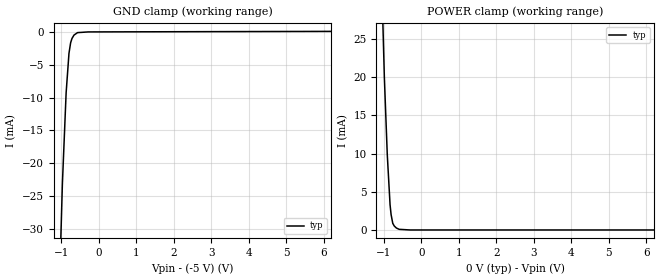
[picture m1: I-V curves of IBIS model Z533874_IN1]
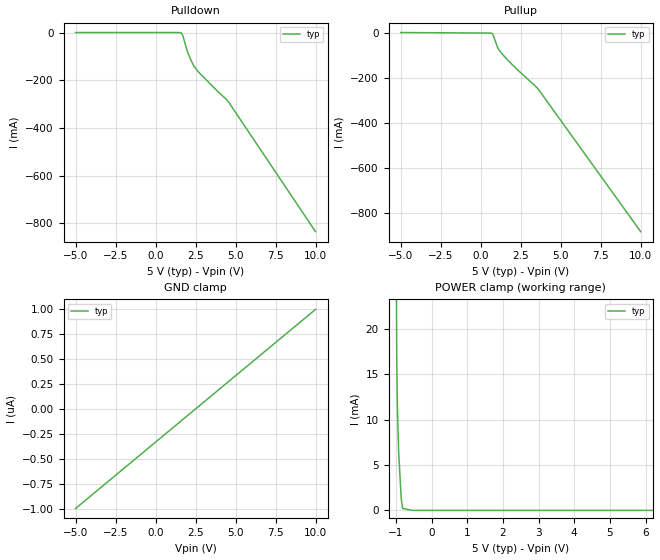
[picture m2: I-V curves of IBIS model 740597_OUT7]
| YOU ARE ONLY AUTHORIZED TO USE THIS SOFTWARE
| ACCORDING TO LICENSOR'S LICENSE RESTRICTIONS.
[IBIS Ver] 3.1
[File Name] mc100el90dw.ibs
[File Rev] 1
[Source] Derived from mc100el52d.ibs and
|   mc10el01d_pecl.ibs measured and created by ICX Technology
[Date] 10/01/2003
[Copyright]
| (C) COPYRIGHT 1993-2000
| MENTOR GRAPHICS CORPORATION
| ICX STANDARD LIBRARY, ICX PROJECT MODELING,
| ICX CUSTOM MODELING, ICX VENDOR MODEL
| ALL RIGHTS RESERVED.
| THE FOLLOWING ARE TRADEMARKS OR SERVICE MARKS OF
| MENTOR GRAPHICS CORPORATION:ICX (R), ICX STANDARD
| LIBRARY(R), ICX PROJECT MODELING(R), ICX CUSTOM
| MODELING(R), qualityIBIS(TM), MODELVIEWER(TM),
| AND MODELEDITOR(TM)
| ALL COPIES OF SOFTWARE, INCLUDING BUT NOT LIMITED TO
| ANY MODIFICATIONS, ENHANCEMENTS OR DERIVATIVE WORKS,
| MUST CONTAIN ALL MENTOR GRAPHICS CORPORATION'S
| NOTICES AND LEGENDS, INCLUDING THOSE EMBEDDED IN
| SOFTWARE AND THOSE AFFIXED TO SOFTWARE MEDIUM
| AND CONTAINER, AS RECEIVED FROM MENTOR GRAPHICS
| CORPORATION.
|  ZAP Model Builder 2.7
[Component] MC100EL90DW
[Manufacturer] On Semiconductor
[Package]
| variable   typ   min   max
R_pkg  .158ohms NA NA
L_pkg  3.37nH NA NA
C_pkg  .4pF NA NA
[Pin] signal_name  model_name  R_pin  L_pin C_pin
1 VCC POWER .158 3.36n .4p
2 D0 Z533874_IN1 .154 2.93n .38p
3 _D0 Z533874_IN1 .154 2.93n .38p
4 VBB POWER .158 3.36n .4p
5 D1 Z533874_IN1 .154 2.93n .38p
6 _D1 Z533874_IN1 .154 2.93n .38p
7 VBB POWER .15 2.51n .36p
8 D2 Z533874_IN1 .154 2.93n .38p
9 _D2 Z533874_IN1 .154 2.93n .38p
10 VEE GND .166 4.25n .44p
11 VCC POWER .15 2.51n .36p
12 _Q2 740597_OUT7 .166 4.25n .44p
13 Q2 740597_OUT7 .166 4.25n .44p
14 VEE GND .166 4.25n .44p
15 _Q1 740597_OUT7 .166 4.25n .44p
16 Q1 740597_OUT7 .166 4.25n .44p
17 VEE GND .166 4.25n .44p
18 _Q0 740597_OUT7 .166 4.25n .44p
19 Q0 740597_OUT7 .166 4.25n .44p
20 VCC POWER .158 3.36n .4p
[Diff Pin] inv_pin vdiff tdelay_typ tdelay_min tdelay_max
2 3 200mV NA NA NA
5 6 200mV NA NA NA
8 9 200mV NA NA NA
13 12 NA 0.005ns NA 0.02ns
16 15 NA 0.005ns NA 0.02ns
19 18 NA 0.005ns NA 0.02ns
| Models and submodels in the file (2): Z533874_IN1 (Input_ECL), 740597_OUT7 (Output_ECL)
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| (C) COPYRIGHT 1993-2000
| MENTOR GRAPHICS CORPORATION
| ICX STANDARD LIBRARY, ICX PROJECT MODELING,
| ICX CUSTOM MODELING, ICX VENDOR MODEL
| ALL RIGHTS RESERVED.
| THE FOLLOWING ARE TRADEMARKS OR SERVICE MARKS OF
| MENTOR GRAPHICS CORPORATION:ICX (R), ICX STANDARD
| LIBRARY(R), ICX PROJECT MODELING(R), ICX CUSTOM
| MODELING(R), qualityIBIS(TM), MODELVIEWER(TM),
| AND MODELEDITOR(TM)
| ALL COPIES OF SOFTWARE, INCLUDING BUT NOT LIMITED TO
| ANY MODIFICATIONS, ENHANCEMENTS OR DERIVATIVE WORKS,
| MUST CONTAIN ALL MENTOR GRAPHICS CORPORATION'S
| NOTICES AND LEGENDS, INCLUDING THOSE EMBEDDED IN
| SOFTWARE AND THOSE AFFIXED TO SOFTWARE MEDIUM
| AND CONTAINER, AS RECEIVED FROM MENTOR GRAPHICS
| CORPORATION.
| Model Application Version 1.89 2/18/99.
[Model] Z533874_IN1
Model_type Input_ECL
Vinl = -1.475V
Vinh = -1.165V
C_comp 2.000pF NA NA
| variable typ   min   max
[Voltage Range] -5.000V NA NA
[GND Clamp Reference] -5.000V NA NA
[POWER Clamp Reference] 0.000V NA NA
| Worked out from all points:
|   GND clamp passes 1 mA (typ) near -0.71 V on its own axis
|   POWER clamp passes 1 mA (typ) near -0.77 V on its own axis
[GND Clamp]
-5V       -828.9mA   NA         NA
-972mV    -23.19mA   NA         NA
-872mV    -9.305mA   NA         NA
-796mV    -3.28mA    NA         NA
-752mV    -1.674mA   NA         NA
-715mV    -1.012mA   NA         NA
-662mV    -504.3uA   NA         NA
-568mV    -130.2uA   NA         NA
-284mV    -21.47uA   NA         NA
10V       109.5uA    NA         NA
[POWER Clamp]
-5V       1.736A     NA         NA
-1.064V   34.04mA    NA         NA
-986.1mV  20.01mA    NA         NA
-908.2mV  9.892mA    NA         NA
-833.3mV  3.284mA    NA         NA
-806.1mV  2.016mA    NA         NA
-761.7mV  872.4uA    NA         NA
-721.1mV  515.3uA    NA         NA
-664.1mV  251.6uA    NA         NA
-589.6mV  83.04uA    NA         NA
-294.8mV  0A         NA         NA
10V       0A         NA         NA
| (C) COPYRIGHT 1993-2000
| MENTOR GRAPHICS CORPORATION
| ICX STANDARD LIBRARY, ICX PROJECT MODELING,
| ICX CUSTOM MODELING, ICX VENDOR MODEL
| ALL RIGHTS RESERVED.
| THE FOLLOWING ARE TRADEMARKS OR SERVICE MARKS OF
| MENTOR GRAPHICS CORPORATION:ICX (R), ICX STANDARD
| LIBRARY(R), ICX PROJECT MODELING(R), ICX CUSTOM
| MODELING(R), qualityIBIS(TM), MODELVIEWER(TM),
| AND MODELEDITOR(TM)
| ALL COPIES OF SOFTWARE, INCLUDING BUT NOT LIMITED TO
| ANY MODIFICATIONS, ENHANCEMENTS OR DERIVATIVE WORKS,
| MUST CONTAIN ALL MENTOR GRAPHICS CORPORATION'S
| NOTICES AND LEGENDS, INCLUDING THOSE EMBEDDED IN
| SOFTWARE AND THOSE AFFIXED TO SOFTWARE MEDIUM
| AND CONTAINER, AS RECEIVED FROM MENTOR GRAPHICS
| CORPORATION.
| Model Application Version 1.89 2/18/99.
[Model] 740597_OUT7
Model_type Output_ECL
Vref=3.000V
Rref=50.00ohms
Cref=0.000F
Vmeas=3.620V
C_comp 2.000pF NA NA
| variable typ   min   max
[Voltage Range] 5.000V NA NA
[POWER Clamp Reference] 5.000V NA NA
[Pullup Reference] 5.000V NA NA
[Pulldown Reference] 5.000V NA NA
[GND Clamp Reference] 0.000V NA NA
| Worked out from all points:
|   POWER clamp passes 1 mA (typ) near -0.84 V on its own axis
[GND Clamp]
-5V       -1uA       NA         NA
10V       1uA        NA         NA
[Pulldown]
-5V       132.5uA    NA         NA
1.192V    132.5uA    NA         NA
1.63V     -3.073mA   NA         NA
1.733V    -18.81mA   NA         NA
1.905V    -60.23mA   NA         NA
2.033V    -86.58mA   NA         NA
2.221V    -117.1mA   NA         NA
2.412V    -141.6mA   NA         NA
2.798V    -173.4mA   NA         NA
4.588V    -293.4mA   NA         NA
10V       -835.2mA   NA         NA
[Pullup]
-5V       2.326mA    NA         NA
723mV     -2.666mA   NA         NA
810mV     -14.08mA   NA         NA
1.035V    -60.78mA   NA         NA
1.25V     -85.07mA   NA         NA
1.799V    -128.6mA   NA         NA
3.589V    -249.2mA   NA         NA
10V       -885mA     NA         NA
[POWER Clamp]
-5V       1.417A     NA         NA
-1.217V   173.4mA    NA         NA
-1.125V   132.2mA    NA         NA
-1.04V    80.57mA    NA         NA
-976mV    17.17mA    NA         NA
-957mV    11.38mA    NA         NA
-922mV    6.494mA    NA         NA
-850mV    1.333mA    NA         NA
-811mV    215.4uA    NA         NA
-540.7mV  0A         NA         NA
10V       0A         NA         NA
[Ramp]
| variable typ min max
dV/dt_r 334.4m/275.8p NA NA
dV/dt_f 334.4m/179.0p NA NA
R_load = 50.00Ohms
